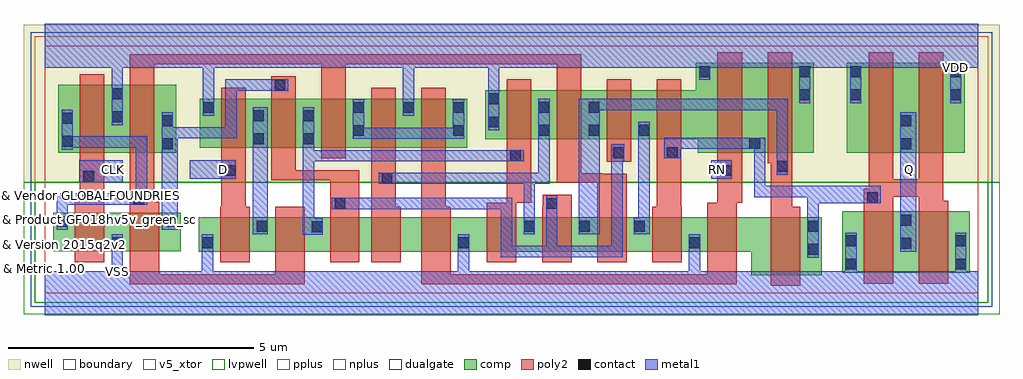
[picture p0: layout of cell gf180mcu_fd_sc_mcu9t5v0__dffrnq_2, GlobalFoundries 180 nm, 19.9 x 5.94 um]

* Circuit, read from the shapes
.subckt gf180mcu_fd_sc_mcu9t5v0__dffrnq_2 CLK D Q RN VDD VSS
XM1 VSS CLK n1 VSUBS nfet_05v0 w=0.79u l=0.6u
XM2 n2 n1 VSS VSUBS nfet_05v0 w=0.79u l=0.6u
XM3 n3 D VSS VSUBS nfet_05v0 w=0.7u l=0.6u
XM4 n4 n1 n3 VSUBS nfet_05v0 w=0.7u l=0.6u
XM5 n5 n2 n4 VSUBS nfet_05v0 w=0.7u l=0.6u
XM6 n6 n7 n5 VSUBS nfet_05v0 w=0.7u l=0.6u
XM7 VSS RN n6 VSUBS nfet_05v0 w=0.7u l=0.6u
XM8 n7 n4 VSS VSUBS nfet_05v0 w=0.7u l=0.6u
XM9 n8 n2 n7 VSUBS nfet_05v0 w=0.7u l=0.6u
XM10 n9 n1 n8 VSUBS nfet_05v0 w=0.7u l=0.6u
XM11 VSS n10 n9 VSUBS nfet_05v0 w=0.7u l=0.6u
XM12 n11 RN VSS VSUBS nfet_05v0 w=0.7u l=0.6u
XM13 n10 n8 n11 VSUBS nfet_05v0 w=1.18u l=0.6u
XM14 Q n10 VSS VSUBS nfet_05v0 w=1.25u l=0.6u m=2
XM15 VDD CLK n1 n12 pfet_05v0 w=1.38u l=0.5u
XM16 n2 n1 VDD n12 pfet_05v0 w=1.38u l=0.5u
XM17 n3 D VDD n12 pfet_05v0 w=1u l=0.5u
XM18 n4 n2 n3 n12 pfet_05v0 w=1u l=0.5u
XM19 n13 n1 n4 n12 pfet_05v0 w=1u l=0.5u
XM20 VDD n7 n13 n12 pfet_05v0 w=1u l=0.5u
XM21 n13 RN VDD n12 pfet_05v0 w=1u l=0.5u
XM22 n7 n4 VDD n12 pfet_05v0 w=1u l=0.5u
XM23 n8 n1 n7 n12 pfet_05v0 w=1u l=0.5u
XM24 n9 n2 n8 n12 pfet_05v0 w=1u l=0.5u
XM25 VDD n10 n9 n12 pfet_05v0 w=1u l=0.5u
XM26 n10 RN VDD n12 pfet_05v0 w=1.83u l=0.5u
XM27 VDD n8 n10 n12 pfet_05v0 w=1.83u l=0.5u
XM28 Q n10 VDD n12 pfet_05v0 w=1.83u l=0.5u m=2
.ends

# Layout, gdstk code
import gdstk
lib = gdstk.Library(unit=1e-6, precision=1e-09)
def R(c, l, rs):  # rectangles x0, y0, x1, y1
    for r in rs: c.add(gdstk.rectangle(r[:2], r[2:], *l))
def A(c, l, x, y, w, h, nx, ny, dx, dy):  # array of equal rectangles
    R(c, l, [(x+i*dx, y+j*dy, x+i*dx+w, y+j*dy+h) for i in range(nx) for j in range(ny)])
def P(c, l, *ps):  # polygons
    for p in ps: c.add(gdstk.Polygon(p, *l))
boundary = (0, 0)
nwell = (21, 0)
comp = (22, 0)
poly2 = (30, 0)
pplus = (31, 0)
nplus = (32, 0)
contact = (33, 0)
metal1 = (34, 0)
dualgate = (55, 0)
v5_xtor = (112, 1)
lvpwell = (204, 0)

gf180mcu_fd_sc_mcu9t5v0_ = lib.new_cell('gf180mcu_fd_sc_mcu9t5v0__dffrnq_2')
R(gf180mcu_fd_sc_mcu9t5v0_, boundary, [(0,0,19.04,5.04)])
R(gf180mcu_fd_sc_mcu9t5v0_, nwell, [(-0.43,2.265,19.47,5.47)])
R(gf180mcu_fd_sc_mcu9t5v0_, comp, [(16.26,0.415,18.86,1.665), (0.18,0.85,2.78,1.64), (0.28,2.865,2.68,4.245), (16.36,2.865,18.76,4.695), (3.16,2.965,8.62,3.965)])
P(gf180mcu_fd_sc_mcu9t5v0_, comp, [(13.32,2.865),(13.32,3.14),(8.98,3.14),(8.98,4.14),(13.28,4.14),(13.28,4.695),(15.68,4.695),(15.68,2.865)],
  [(14.41,0.365),(14.41,0.845),(3.14,0.845),(3.14,1.545),(15.85,1.545),(15.85,0.365)])
R(gf180mcu_fd_sc_mcu9t5v0_, poly2, [(11.46,2.68,11.96,4.36)])
P(gf180mcu_fd_sc_mcu9t5v0_, poly2, [(0.62,0.63),(0.62,1.86),(0.72,1.86),(0.72,4.465),(1.22,4.465),(1.22,0.63)],
  [(3.58,0.625),(3.58,1.765),(3.6,1.765),(3.6,4.185),(4.1,4.185),(4.1,1.765),(4.18,1.765),(4.18,0.625)],
  [(5.82,0.625),(5.82,2.305),(4.62,2.305),(4.62,4.425),(5.12,4.425),(5.12,2.505),(6.42,2.505),(6.42,0.625)],
  [(6.66,0.625),(6.66,4.185),(7.16,4.185),(7.16,1.765),(7.26,1.765),(7.26,0.625)],
  [(9.02,0.625),(9.02,1.845),(9.42,1.845),(9.42,4.36),(9.92,4.36),(9.92,1.845),(9.62,1.845),(9.62,0.625)],
  [(10.15,0.625),(10.15,1.765),(10.16,1.765),(10.16,2.005),(10.75,2.005),(10.75,0.625)],
  [(1.74,0.185),(1.74,4.865),(10.94,4.865),(10.94,2.445),(11.37,2.445),(11.37,2.43),(11.87,2.43),(11.87,0.625),(11.27,0.625),(11.27,2.245),(10.44,2.245),(10.44,4.665),(6.14,4.665),(6.14,2.745),(5.64,2.745),(5.64,4.665),(2.24,4.665),(2.24,1.86),(2.34,1.86),(2.34,0.385),(4.7,0.385),(4.7,1.765),(5.3,1.765),(5.3,0.185)],
  [(12.39,0.625),(12.39,1.765),(12.48,1.765),(12.48,4.36),(12.98,4.36),(12.98,1.765),(12.99,1.765),(12.99,0.625)],
  [(7.68,0.185),(7.68,4.185),(8.18,4.185),(8.18,1.765),(8.28,1.765),(8.28,0.385),(13.51,0.385),(13.51,1.845),(13.72,1.845),(13.72,4.915),(14.22,4.915),(14.22,1.845),(14.11,1.845),(14.11,0.185)],
  [(14.81,0.145),(14.81,2.645),(14.74,2.645),(14.74,4.915),(15.24,4.915),(15.24,1.765),(15.41,1.765),(15.41,0.145)],
  [(16.7,0.195),(16.7,2.125),(16.8,2.125),(16.8,4.915),(17.3,4.915),(17.3,2.32),(17.82,2.32),(17.82,4.915),(18.32,4.915),(18.32,1.885),(18.42,1.885),(18.42,0.195),(17.82,0.195),(17.82,1.965),(17.3,1.965),(17.3,0.195)])
R(gf180mcu_fd_sc_mcu9t5v0_, pplus, [(-0.2,2.265,19.24,5.24)])
R(gf180mcu_fd_sc_mcu9t5v0_, nplus, [(-0.2,-0.2,19.24,2.265)])
A(gf180mcu_fd_sc_mcu9t5v0_, contact, 10.07, 3.21, 0.22, 0.22, 3, 1, 1.02, 0)
A(gf180mcu_fd_sc_mcu9t5v0_, contact, 6.29, 3.675, 0.22, 0.22, 3, 1, 1.02, 0)
R(gf180mcu_fd_sc_mcu9t5v0_, contact, [(16.33,0.485,16.55,0.705), (18.57,0.485,18.79,0.705), (15.56,0.785,15.78,1.005), (17.45,0.905,17.67,1.125), (3.21,0.915,3.43,1.135), (8.43,0.915,8.65,1.135), (13.14,0.915,13.36,1.135), (1.37,0.92,1.59,1.14), (16.33,0.955,16.55,1.175), (18.57,0.955,18.79,1.175), (5.45,1.245,5.67,1.465), (4.33,1.255,4.55,1.475), (9.77,1.255,9.99,1.475), (10.9,1.255,11.12,1.475), (12.02,1.255,12.24,1.475), (15.56,1.255,15.78,1.475), (0.25,1.35,0.47,1.57), (2.49,1.35,2.71,1.57), (17.45,1.375,17.67,1.595), (5.915,1.715,6.135,1.935), (10.23,1.715,10.45,1.935), (1.81,1.81,2.03,2.03), (16.77,1.835,16.99,2.055), (6.87,2.23,7.09,2.45), (0.79,2.27,1.01,2.49), (3.67,2.39,3.89,2.61), (13.79,2.39,14.01,2.61), (14.93,2.475,15.15,2.695), (9.49,2.69,9.71,2.91), (11.59,2.75,11.81,2.97), (12.69,2.75,12.91,2.97), (2.39,2.935,2.61,3.155), (17.45,2.935,17.67,3.155), (14.37,2.945,14.59,3.165), (0.35,2.985,0.57,3.205), (4.25,3.035,4.47,3.255), (5.27,3.035,5.49,3.255), (6.29,3.205,6.51,3.425), (8.33,3.205,8.55,3.425), (9.05,3.38,9.27,3.6), (2.39,3.405,2.61,3.625), (17.45,3.405,17.67,3.625), (0.35,3.455,0.57,3.675), (1.37,3.485,1.59,3.705), (4.25,3.505,4.47,3.725), (5.27,3.505,5.49,3.725), (3.23,3.675,3.45,3.895), (10.07,3.68,10.29,3.9), (11.09,3.68,11.31,3.9), (9.05,3.85,9.27,4.07), (15.39,3.935,15.61,4.155), (16.43,3.935,16.65,4.155), (18.47,3.935,18.69,4.155), (1.37,3.955,1.59,4.175), (4.69,4.135,4.91,4.355), (13.35,4.405,13.57,4.625), (15.39,4.405,15.61,4.625), (16.43,4.405,16.65,4.625), (18.47,4.405,18.69,4.625)])
R(gf180mcu_fd_sc_mcu9t5v0_, metal1, [(17.445,0.845,17.77,3.685), (4.245,1.195,4.555,3.785), (0.71,2.265,1.59,2.71), (2.96,2.33,3.895,2.71), (13.59,2.33,14.015,2.71)])
P(gf180mcu_fd_sc_mcu9t5v0_, metal1, [(0.245,1.29),(0.245,2.035),(1.86,2.035),(1.86,2.965),(0.575,2.965),(0.575,2.925),(0.345,2.925),(0.345,3.735),(0.575,3.735),(0.575,3.195),(2.09,3.195),(2.09,1.805),(0.475,1.805),(0.475,1.29)],
  [(2.385,1.29),(2.385,3.685),(2.615,3.685),(2.615,3.385),(3.685,3.385),(3.685,4.36),(4.97,4.36),(4.97,4.13),(3.915,4.13),(3.915,3.155),(2.715,3.155),(2.715,1.29)],
  [(6.285,3.145),(6.285,3.955),(6.515,3.955),(6.515,3.375),(8.325,3.375),(8.325,3.955),(8.555,3.955),(8.555,3.145)],
  [(5.265,1.185),(5.265,3.785),(5.495,3.785),(5.495,2.915),(9.77,2.915),(9.77,2.685),(5.495,2.685),(5.495,1.525),(5.675,1.525),(5.675,1.185)],
  [(9.765,1.195),(9.765,2.225),(6.81,2.225),(6.81,2.455),(10.065,2.455),(10.065,3.96),(10.295,3.96),(10.295,2.225),(9.995,2.225),(9.995,1.195)],
  [(9.305,0.735),(9.305,1.71),(5.855,1.71),(5.855,1.94),(9.535,1.94),(9.535,0.965),(10.225,0.965),(10.225,1.995),(10.455,1.995),(10.455,0.965),(11.555,0.965),(11.555,3.03),(11.815,3.03),(11.815,2.69),(11.785,2.69),(11.785,0.735)],
  [(12.015,1.195),(12.015,1.535),(12.105,1.535),(12.105,3.49),(12.335,3.49),(12.335,1.195)],
  [(10.895,1.195),(10.895,3.96),(15.155,3.96),(15.155,2.415),(14.925,2.415),(14.925,3.73),(11.315,3.73),(11.315,1.195)],
  [(15.555,0.725),(15.555,1.955),(14.465,1.955),(14.465,2.94),(12.97,2.94),(12.97,2.745),(12.63,2.745),(12.63,3.17),(14.695,3.17),(14.695,2.185),(17.05,2.185),(17.05,1.83),(15.785,1.83),(15.785,0.725)],
  [(0,-0.45),(0,0.45),(1.365,0.45),(1.365,1.2),(1.595,1.2),(1.595,0.45),(3.205,0.45),(3.205,1.195),(3.435,1.195),(3.435,0.45),(8.425,0.45),(8.425,1.195),(8.655,1.195),(8.655,0.45),(13.135,0.45),(13.135,1.195),(13.365,1.195),(13.365,0.45),(16.325,0.45),(16.325,1.235),(16.555,1.235),(16.555,0.45),(18.565,0.45),(18.565,1.235),(18.795,1.235),(18.795,0.45),(19.04,0.45),(19.04,-0.45)],
  [(9.045,3.32),(9.045,4.59),(7.535,4.59),(7.535,3.615),(7.305,3.615),(7.305,4.59),(3.455,4.59),(3.455,3.615),(3.225,3.615),(3.225,4.59),(1.595,4.59),(1.595,3.425),(1.365,3.425),(1.365,4.59),(0,4.59),(0,5.49),(19.04,5.49),(19.04,4.59),(18.695,4.59),(18.695,3.875),(18.465,3.875),(18.465,4.59),(16.655,4.59),(16.655,3.875),(16.425,3.875),(16.425,4.59),(15.615,4.59),(15.615,3.875),(15.385,3.875),(15.385,4.59),(13.575,4.59),(13.575,4.345),(13.345,4.345),(13.345,4.59),(9.275,4.59),(9.275,3.32)])
R(gf180mcu_fd_sc_mcu9t5v0_, dualgate, [(-0.28,-0.28,19.32,5.32)])
R(gf180mcu_fd_sc_mcu9t5v0_, v5_xtor, [(0,0,19.04,5.04)])
R(gf180mcu_fd_sc_mcu9t5v0_, lvpwell, [(-0.43,-0.43,19.47,2.265)])
gf180mcu_fd_sc_mcu9t5v0_.add(gdstk.Label('CLK', (1.4,2.52), layer=34, texttype=10))
gf180mcu_fd_sc_mcu9t5v0_.add(gdstk.Label('D', (3.64,2.52), layer=34, texttype=10))
gf180mcu_fd_sc_mcu9t5v0_.add(gdstk.Label('Q', (17.64,2.52), layer=34, texttype=10))
gf180mcu_fd_sc_mcu9t5v0_.add(gdstk.Label('RN', (13.72,2.52), layer=34, texttype=10))
gf180mcu_fd_sc_mcu9t5v0_.add(gdstk.Label('VDD', (18.58,4.59), layer=34, texttype=10))
gf180mcu_fd_sc_mcu9t5v0_.add(gdstk.Label('VSS', (1.48,0.45), layer=34, texttype=10))
gf180mcu_fd_sc_mcu9t5v0_.add(gdstk.Label('& Vendor GLOBALFOUNDRIES', (0,2), layer=63, texttype=63))
gf180mcu_fd_sc_mcu9t5v0_.add(gdstk.Label('& Product GF018hv5v_green_sc9', (0,1.5), layer=63, texttype=63))
gf180mcu_fd_sc_mcu9t5v0_.add(gdstk.Label('& Version 2015q2v2', (0,1), layer=63, texttype=63))
gf180mcu_fd_sc_mcu9t5v0_.add(gdstk.Label('& Metric 1.00', (0,0.5), layer=63, texttype=63))

lib.write_gds('gf180mcu_fd_sc_mcu9t5v0__dffrnq_2.gds')
